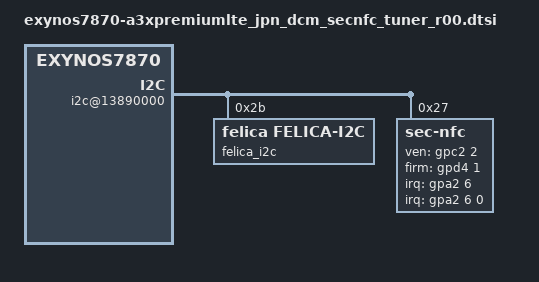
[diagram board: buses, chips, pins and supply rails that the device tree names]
 /* Copyright (c) 2012-2014, The Linux Foundation. All rights reserved.
 *
 * This program is free software; you can redistribute it and/or modify
 * it under the terms of the GNU General Public License version 2 and
 * only version 2 as published by the Free Software Foundation.
 *
 * This program is distributed in the hope that it will be useful,
 * but WITHOUT ANY WARRANTY; without even the implied warranty of
 * MERCHANTABILITY or FITNESS FOR A PARTICULAR PURPOSE.  See the
 * GNU General Public License for more details.
 */

/{

	i2c@13890000{
		samsung,i2c-sda-delay = <100>;
		samsung,i2c-max-bus-freq = <300000>;
		status = "okay";
		#address-cells = <1>;
		#size-cells = <0>;

		felica_i2c@2B {
			compatible = "felica,felica-i2c";
			reg = <0x2B>;
		};

		sec-nfc@27 {
			compatible = "sec-nfc";
			reg = <0x27>;
			interrupts = <6 0 0>;
			interrupt-parent = <&gpa2>;
			sec-nfc,ven-gpio = <&gpc2 2 0x2>;
			sec-nfc,firm-gpio = <&gpd4 1 0>;
			sec-nfc,irq-gpio = <&gpa2 6 0>;
			sec-nfc,clk_use = <2>;
			sec-nfc,i2c_1p8 = "vdd_peri_1p8";
			pinctrl-names = "default";
			pinctrl-0 = <&nfc_n5_firm &nfc_pd &nfc_int >;
		};
	};

};

